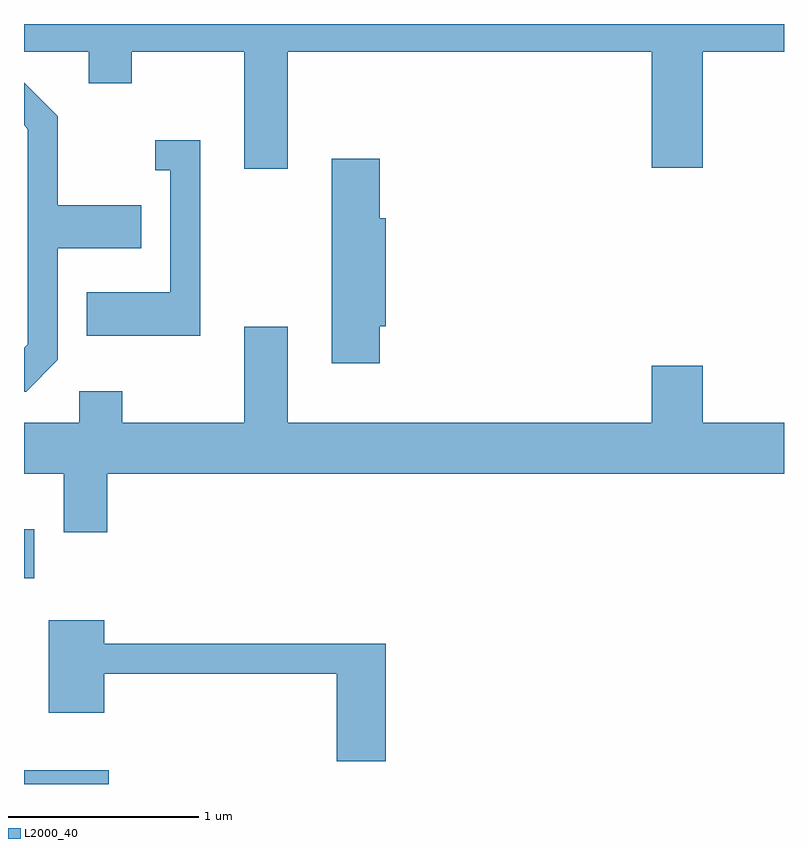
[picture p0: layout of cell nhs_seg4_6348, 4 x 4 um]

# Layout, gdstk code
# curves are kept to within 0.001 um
import gdstk
lib = gdstk.Library(unit=1e-6, precision=1e-09)
def R(c, l, rs):  # rectangles x0, y0, x1, y1
    for r in rs: c.add(gdstk.rectangle(r[:2], r[2:], *l))
def P(c, l, *ps):  # polygons
    for p in ps: c.add(gdstk.Polygon(p, *l))
L2000_40 = (2000, 40)

nhs_seg4_6348 = lib.new_cell('nhs_seg4_6348')
R(nhs_seg4_6348, L2000_40, [(371.611,1301.982,372.058,1302.054), (371.611,1303.066,371.664,1303.324)])
P(nhs_seg4_6348, L2000_40, [(372.999,1305.836),(374.916,1305.836),(374.916,1305.226),(375.184,1305.226),(375.184,1305.836),(375.611,1305.836),(375.611,1305.982),(371.611,1305.982),(371.611,1305.836),(371.951,1305.836),(371.951,1305.671),(372.179,1305.671),(372.179,1305.836),(372.771,1305.836),(372.771,1305.221),(372.999,1305.221)],
  [(371.789,1304.214),(371.789,1304.801),(372.229,1304.801),(372.229,1305.029),(371.789,1305.029),(371.789,1305.497),(371.611,1305.674),(371.611,1305.449),(371.631,1305.429),(371.631,1304.297),(371.611,1304.277),(371.611,1304.046),(371.622,1304.046)],
  [(372.539,1305.369),(372.303,1305.369),(372.303,1305.211),(372.381,1305.211),(372.381,1304.569),(371.941,1304.569),(371.941,1304.341),(372.539,1304.341)],
  [(373.484,1304.391),(373.514,1304.391),(373.514,1304.959),(373.484,1304.959),(373.484,1305.274),(373.231,1305.274),(373.231,1304.196),(373.484,1304.196)],
  [(372.049,1303.616),(375.611,1303.616),(375.611,1303.884),(375.184,1303.884),(375.184,1304.184),(374.916,1304.184),(374.916,1303.884),(372.999,1303.884),(372.999,1304.389),(372.771,1304.389),(372.771,1303.884),(372.129,1303.884),(372.129,1304.049),(371.901,1304.049),(371.901,1303.884),(371.611,1303.884),(371.611,1303.616),(371.821,1303.616),(371.821,1303.306),(372.049,1303.306)],
  [(373.514,1302.719),(372.034,1302.719),(372.034,1302.844),(371.741,1302.844),(371.741,1302.356),(372.034,1302.356),(372.034,1302.561),(373.256,1302.561),(373.256,1302.101),(373.514,1302.101)])

lib.write_gds('nhs_seg4_6348.gds')
